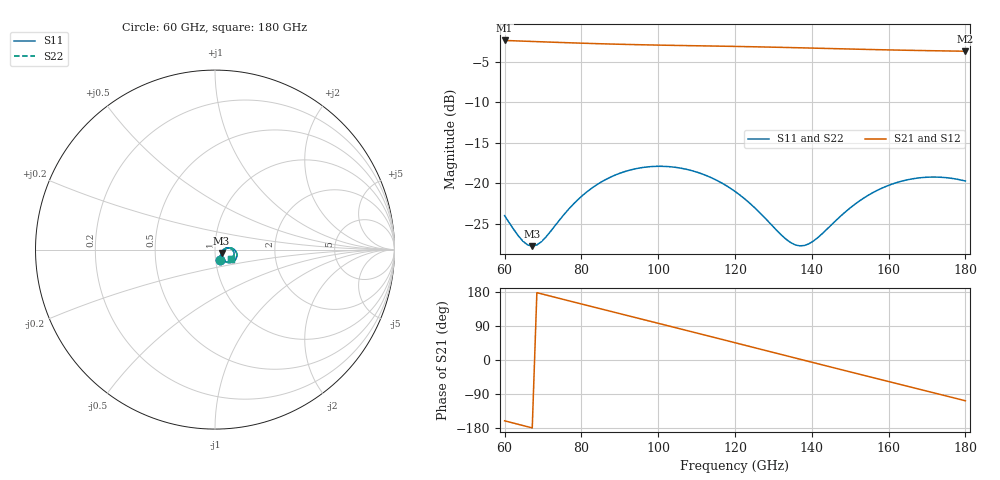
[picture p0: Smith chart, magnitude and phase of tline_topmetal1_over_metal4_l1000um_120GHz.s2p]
#  GHZ S DB R 50
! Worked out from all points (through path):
!   101 points, 60 GHz to 180 GHz, reference 50 ohm
!   highest |S21| = -2.37 dB at 60 GHz (marker M1); lowest = -3.7 dB at 180 GHz (marker M2)
!   group delay of S21, straight-line fit = 7.11 ps
!   lowest |S11| = -27.7 dB at 67.2 GHz (marker M3), VSWR 1.09, Z = 53.7 - j2.04 ohm
!   |S11| at or under -10 dB: start of sweep to end of sweep
!   |S22| runs from -27.8 to -17.9 dB; largest |S21 - S12| = 1.2e-13
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60  -23.98 -61.8  -2.37 -160.5  -2.37 -160.5  -23.97 -62.4
64.8  -27.14 -43.4  -2.45 -173.0  -2.45 -173.0  -27.18 -44.1
67.2  -27.74 -27.5  -2.49 -179.2  -2.49 -179.2  -27.81 -28.1
69.6  -27.18 -12.1  -2.54 174.6  -2.54 174.6  -27.26 -12.5
74.4  -24.46 4.3  -2.62 162.2  -2.62 162.2  -24.51 4.2
80.4  -21.45 6.4  -2.71 146.8  -2.71 146.8  -21.47 6.3
85.2  -19.82 2.2  -2.78 134.6  -2.78 134.6  -19.83 2.1
91.2  -18.56 -5.9  -2.85 119.3  -2.85 119.3  -18.56 -6.1
96  -18.04 -13.4  -2.90 107.0  -2.90 107.0  -18.04 -13.6
100.8  -17.89 -21.2  -2.95 94.8  -2.95 94.8  -17.89 -21.5
105.6  -18.10 -29.1  -2.99 82.5  -2.99 82.5  -18.09 -29.5
110.4  -18.66 -36.6  -3.03 70.3  -3.03 70.3  -18.65 -37.0
120  -20.99 -48.5  -3.11 45.6  -3.11 45.6  -20.98 -49.1
127.2  -23.97 -50.0  -3.17 27.1  -3.17 27.1  -23.97 -50.8
134.4  -27.27 -33.3  -3.25 8.5  -3.25 8.5  -27.33 -34.1
136.8  -27.70 -22.4  -3.27 2.4  -3.27 2.4  -27.78 -23.2
140.4  -27.12 -6.5  -3.31 -6.9  -3.31 -6.9  -27.20 -7.1
150  -23.02 7.9  -3.43 -31.4  -3.43 -31.4  -23.05 7.4
154.8  -21.43 5.2  -3.48 -43.6  -3.48 -43.6  -21.45 4.7
160.8  -20.10 -1.5  -3.54 -58.8  -3.54 -58.8  -20.11 -2.1
170.4  -19.23 -15.2  -3.63 -83.2  -3.63 -83.2  -19.23 -16.1
180  -19.71 -29.2  -3.70 -107.6  -3.70 -107.6  -19.72 -30.4
